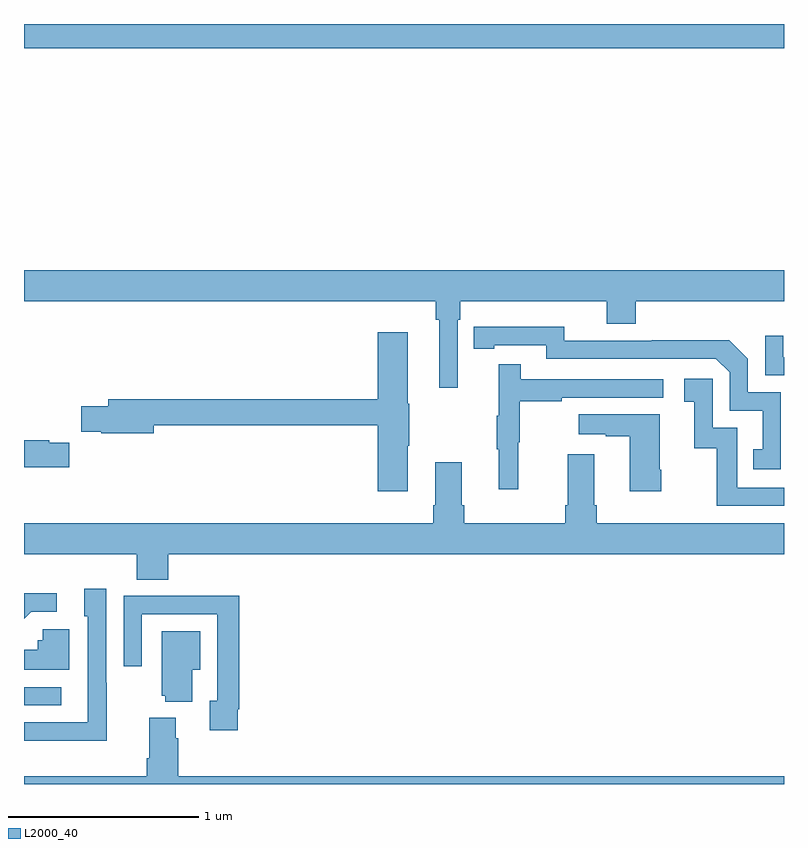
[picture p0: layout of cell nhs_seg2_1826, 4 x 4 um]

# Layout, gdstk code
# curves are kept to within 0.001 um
import gdstk
lib = gdstk.Library(unit=1e-6, precision=1e-09)
def R(c, l, rs):  # rectangles x0, y0, x1, y1
    for r in rs: c.add(gdstk.rectangle(r[:2], r[2:], *l))
def P(c, l, *ps):  # polygons
    for p in ps: c.add(gdstk.Polygon(p, *l))
L2000_40 = (2000, 40)

nhs_seg2_1826 = lib.new_cell('nhs_seg2_1826')
R(nhs_seg2_1826, L2000_40, [(207,608.214,207.196,608.31), (207,611.672,211,611.8)])
P(nhs_seg2_1826, L2000_40, [(209.283,610.244),(209.297,610.244),(209.297,610.34),(210.068,610.34),(210.068,610.223),(210.221,610.223),(210.221,610.34),(211,610.34),(211,610.504),(207,610.504),(207,610.34),(209.167,610.34),(209.167,610.244),(209.186,610.244),(209.186,609.885),(209.283,609.885)],
  [(210.984,609.861),(210.81,609.861),(210.81,610.038),(210.712,610.136),(210.304,610.136),(210.304,610.134),(209.844,610.134),(209.844,610.207),(209.368,610.206),(209.368,610.09),(209.476,610.09),(209.476,610.11),(209.748,610.11),(209.748,610.038),(210.642,610.038),(210.714,609.966),(210.714,609.765),(210.887,609.765),(210.887,609.561),(210.838,609.561),(210.838,609.456),(210.984,609.456)],
  [(209.02,609.58),(209.028,609.58),(209.028,609.801),(209.02,609.801),(209.02,610.177),(208.862,610.177),(208.862,609.824),(207.443,609.824),(207.443,609.788),(207.301,609.788),(207.301,609.654),(207.406,609.654),(207.406,609.646),(207.682,609.646),(207.682,609.688),(208.862,609.688),(208.862,609.342),(209.02,609.342)],
  [(211,610.047),(210.997,610.047),(210.997,610.159),(210.9,610.159),(210.9,609.951),(211,609.951)],
  [(209.6,609.6),(209.608,609.6),(209.608,609.814),(209.831,609.814),(209.831,609.834),(210.364,609.834),(210.364,609.93),(209.615,609.93),(209.615,610.009),(209.498,610.009),(209.498,609.737),(209.487,609.737),(209.487,609.563),(209.498,609.563),(209.498,609.351),(209.6,609.351)],
  [(211,609.36),(210.753,609.36),(210.753,609.675),(210.624,609.675),(210.624,609.934),(210.474,609.934),(210.474,609.813),(210.527,609.813),(210.527,609.567),(210.645,609.567),(210.645,609.264),(211,609.264)],
  [(210.354,609.454),(210.346,609.454),(210.346,609.745),(209.919,609.745),(209.919,609.641),(210.062,609.641),(210.062,609.631),(210.188,609.631),(210.188,609.342),(210.354,609.342)],
  [(207.239,609.596),(207.134,609.596),(207.134,609.608),(207,609.608),(207,609.466),(207.239,609.466)],
  [(207.758,609.008),(211,609.008),(211,609.172),(210.014,609.172),(210.014,609.268),(210.001,609.268),(210.001,609.535),(209.861,609.535),(209.861,609.268),(209.849,609.268),(209.849,609.172),(209.318,609.172),(209.318,609.268),(209.305,609.268),(209.305,609.493),(209.165,609.493),(209.165,609.268),(209.153,609.268),(209.153,609.172),(207,609.172),(207,609.008),(207.593,609.008),(207.593,608.875),(207.758,608.875)],
  [(207.435,608.333),(207.432,608.333),(207.432,608.827),(207.317,608.827),(207.317,608.682),(207.336,608.682),(207.336,608.342),(207.335,608.342),(207.335,608.124),(207,608.124),(207,608.027),(207.435,608.027)],
  [(207.037,608.706),(207.172,608.706),(207.172,608.804),(207,608.804),(207,608.669)],
  [(208.126,608.194),(208.133,608.194),(208.133,608.792),(207.841,608.792),(207.841,608.79),(207.525,608.79),(207.525,608.421),(207.621,608.421),(207.621,608.694),(208.017,608.694),(208.017,608.238),(207.977,608.238),(207.977,608.082),(208.126,608.082)],
  [(207.238,608.614),(207.099,608.614),(207.099,608.556),(207.073,608.556),(207.073,608.506),(207,608.506),(207,608.402),(207.238,608.402)],
  [(207.886,608.402),(207.928,608.402),(207.928,608.605),(207.725,608.605),(207.725,608.265),(207.743,608.265),(207.743,608.234),(207.886,608.234)],
  [(211,607.84),(207.812,607.84),(207.812,608.042),(207.799,608.042),(207.799,608.149),(207.659,608.149),(207.659,607.936),(207.647,607.936),(207.647,607.84),(207,607.84),(207,607.8),(211,607.8)])

lib.write_gds('nhs_seg2_1826.gds')
